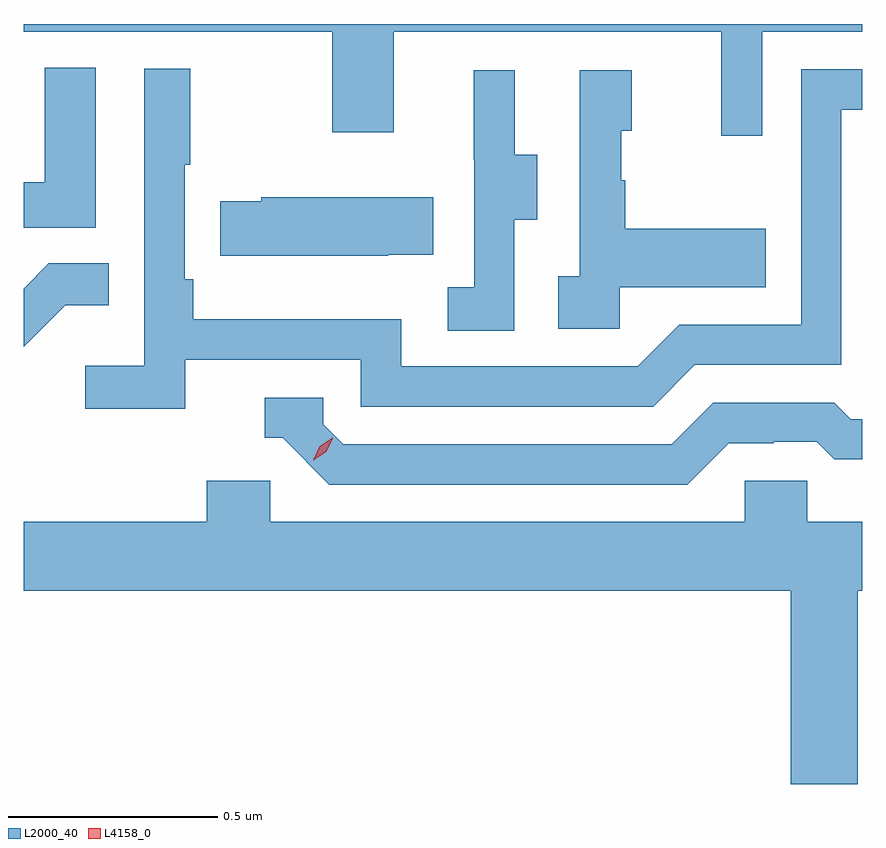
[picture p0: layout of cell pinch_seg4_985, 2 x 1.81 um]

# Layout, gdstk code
import gdstk
lib = gdstk.Library(unit=1e-6, precision=1e-09)
def P(c, l, *ps):  # polygons
    for p in ps: c.add(gdstk.Polygon(p, *l))
L2000_40 = (2000, 40)
L4158_0 = (4158, 0)

pinch_seg4_985 = lib.new_cell('pinch_seg4_985')
P(pinch_seg4_985, L2000_40, [(871.257,774.176),(871.496,774.176),(871.496,774.195),(869.496,774.195),(869.496,774.176),(870.232,774.176),(870.232,773.937),(870.379,773.937),(870.379,774.176),(871.16,774.176),(871.16,773.928),(871.257,773.928)],
  [(869.668,774.091),(869.546,774.091),(869.546,773.818),(869.496,773.818),(869.496,773.709),(869.668,773.709)],
  [(869.882,773.394),(870.3,773.394),(870.3,773.283),(870.997,773.283),(871.096,773.382),(871.446,773.382),(871.446,773.991),(871.496,773.991),(871.496,774.087),(871.35,774.087),(871.35,773.478),(871.059,773.478),(870.96,773.379),(870.396,773.379),(870.396,773.491),(869.9,773.491),(869.9,773.587),(869.88,773.587),(869.88,773.86),(869.893,773.86),(869.893,774.088),(869.784,774.088),(869.784,773.38),(869.643,773.38),(869.643,773.278),(869.882,773.278)],
  [(870.666,773.728),(870.721,773.728),(870.721,773.883),(870.667,773.883),(870.667,774.085),(870.569,774.085),(870.569,773.871),(870.57,773.871),(870.57,773.567),(870.507,773.567),(870.507,773.464),(870.666,773.464)],
  [(870.918,773.567),(871.265,773.567),(871.265,773.707),(870.931,773.707),(870.931,773.822),(870.921,773.822),(870.921,773.94),(870.946,773.94),(870.946,774.085),(870.822,774.085),(870.822,773.594),(870.771,773.594),(870.771,773.469),(870.918,773.469)],
  [(870.365,773.645),(870.473,773.645),(870.473,773.782),(870.063,773.782),(870.063,773.772),(869.965,773.772),(869.965,773.642),(870.365,773.642)],
  [(869.595,773.525),(869.699,773.525),(869.699,773.624),(869.556,773.624),(869.496,773.564),(869.496,773.426)],
  [(871.177,773.196),(871.284,773.196),(871.284,773.199),(871.387,773.199),(871.429,773.157),(871.496,773.157),(871.496,773.253),(871.468,773.253),(871.429,773.292),(871.14,773.292),(871.041,773.193),(870.258,773.193),(870.21,773.241),(870.21,773.304),(870.071,773.304),(870.071,773.208),(870.114,773.208),(870.225,773.097),(871.078,773.097)],
  [(871.215,773.008),(870.084,773.008),(870.084,773.106),(869.933,773.106),(869.933,773.008),(869.496,773.008),(869.496,772.844),(871.325,772.844),(871.325,772.383),(871.485,772.383),(871.485,772.844),(871.496,772.844),(871.496,773.008),(871.365,773.008),(871.365,773.106),(871.215,773.106)])
P(pinch_seg4_985, L4158_0, [(870.187,773.155),(870.187,773.155),(870.202,773.188),(870.233,773.208),(870.233,773.208),(870.233,773.207),(870.218,773.175),(870.187,773.155)])

lib.write_gds('pinch_seg4_985.gds')
